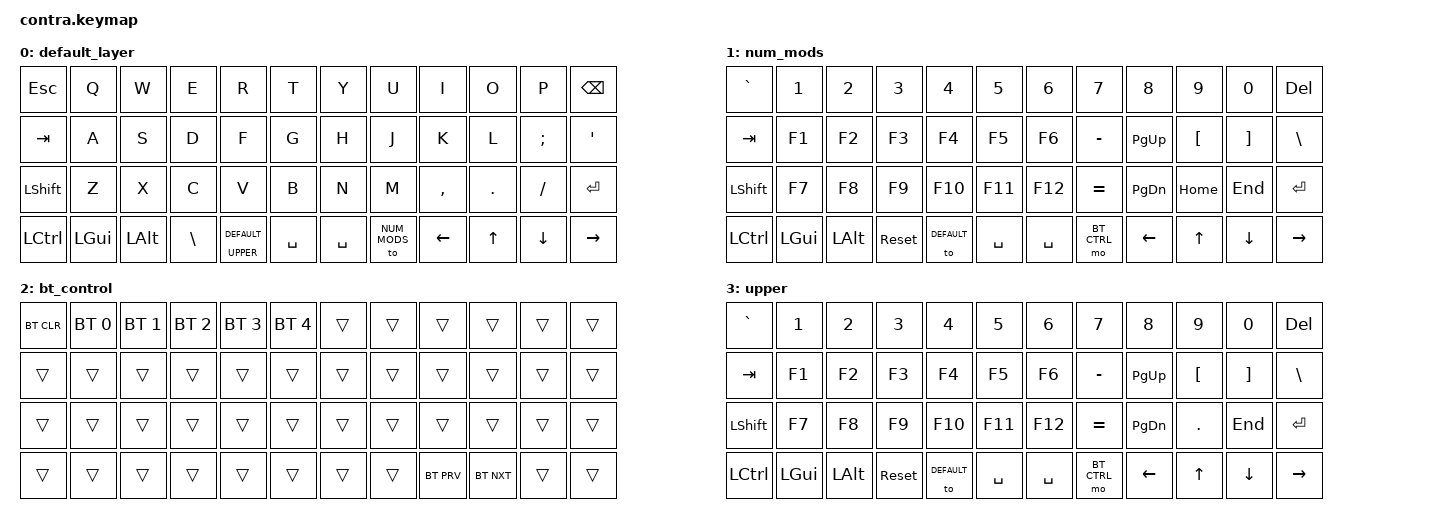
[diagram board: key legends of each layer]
/*
 * Copyright (c) 2021 The ZMK Contributors
 *
 * SPDX-License-Identifier: MIT
 */

#include <behaviors.dtsi>
#include <dt-bindings/zmk/keys.h>
#include <dt-bindings/zmk/bt.h>

#define DEFAULT  0
#define NUM_MODS 1
#define BT_CTRL  2
#define UPPER  3

/ {
    keymap {
        compatible = "zmk,keymap";

        default_layer {
            bindings = <
    &kp ESC   &kp Q     &kp W    &kp E     &kp R       &kp T      &kp Y     &kp U        &kp I     &kp O     &kp P    &kp BSPC
    &kp TAB   &kp A     &kp S    &kp D     &kp F       &kp G      &kp H     &kp J        &kp K     &kp L     &kp SEMI &kp SQT
    &kp LSHFT &kp Z     &kp X    &kp C     &kp V       &kp B      &kp N     &kp M        &kp COMMA &kp DOT   &kp FSLH &kp ENTER
    &kp LCTRL &kp LGUI  &kp LALT &kp BSLH  &lt UPPER DEFAULT &kp SPACE  &kp SPACE &to NUM_MODS &kp LEFT  &kp UP &kp DOWN   &kp RIGHT
            >;
        };

        num_mods {
            bindings = <
    &kp GRAVE &kp N1    &kp N2   &kp N3   &kp N4      &kp N5     &kp N6    &kp N7      &kp N8    &kp N9    &kp N0   &kp DEL
    &kp TAB   &kp F1    &kp F2   &kp F3   &kp F4      &kp F5     &kp F6    &kp MINUS   &kp PG_UP &kp LBKT  &kp RBKT &kp BSLH
    &kp LSHFT &kp F7    &kp F8   &kp F9   &kp F10     &kp F11    &kp F12   &kp EQUAL   &kp PG_DN &kp HOME  &kp END  &kp ENTER
    &kp LCTRL &kp LGUI  &kp LALT &sys_reset   &to DEFAULT &kp SPACE  &kp SPACE  &mo BT_CTRL &kp LEFT  &kp UP &kp DOWN   &kp RIGHT
            >;
        };

        bt_control {
            bindings = <
    &bt BT_CLR &bt BT_SEL 0 &bt BT_SEL 1 &bt BT_SEL 2 &bt BT_SEL 3 &bt BT_SEL 4 &trans    &trans    &trans     &trans     &trans   &trans
    &trans     &trans       &trans       &trans       &trans       &trans       &trans    &trans    &trans     &trans     &trans   &trans
    &trans     &trans       &trans       &trans       &trans       &trans       &trans    &trans    &trans     &trans     &trans   &trans
    &trans     &trans       &trans       &trans       &trans       &trans       &trans    &trans    &bt BT_PRV &bt BT_NXT &trans   &trans
            >;
        };

        upper {
            bindings = <
    &kp GRAVE &kp N1    &kp N2   &kp N3   &kp N4      &kp N5     &kp N6    &kp N7      &kp N8    &kp N9    &kp N0   &kp DEL
    &kp TAB   &kp F1    &kp F2   &kp F3   &kp F4      &kp F5     &kp F6    &kp MINUS   &kp PG_UP &kp LBKT  &kp RBKT &kp BSLH
    &kp LSHFT &kp F7    &kp F8   &kp F9   &kp F10     &kp F11    &kp F12   &kp EQUAL   &kp PG_DN &kp DOT  &kp END  &kp ENTER
    &kp LCTRL &kp LGUI  &kp LALT &sys_reset   &to DEFAULT &kp SPACE  &kp SPACE  &mo BT_CTRL &kp LEFT  &kp UP &kp DOWN   &kp RIGHT
            >;
        };
    };
};
